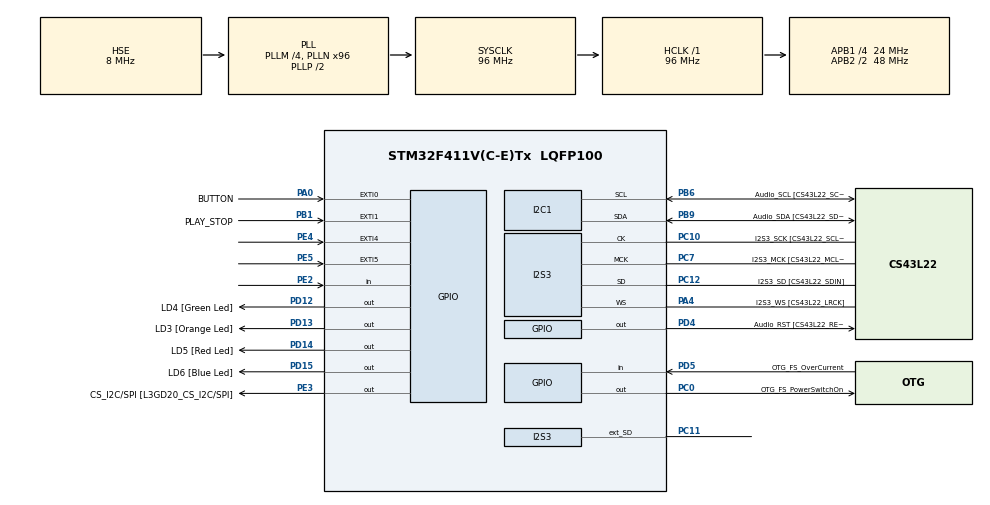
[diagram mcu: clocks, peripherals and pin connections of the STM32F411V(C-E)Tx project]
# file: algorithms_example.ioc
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Dma.Request0=SPI3_TX
Dma.SPI3_TX.0.Direction=DMA_MEMORY_TO_PERIPH
Dma.SPI3_TX.0.FIFOMode=DMA_FIFOMODE_ENABLE
Dma.SPI3_TX.0.FIFOThreshold=DMA_FIFO_THRESHOLD_FULL
Dma.SPI3_TX.0.Instance=DMA1_Stream5
Dma.SPI3_TX.0.MemBurst=DMA_MBURST_SINGLE
Dma.SPI3_TX.0.MemDataAlignment=DMA_MDATAALIGN_HALFWORD
Dma.SPI3_TX.0.MemInc=DMA_MINC_ENABLE
Dma.SPI3_TX.0.Mode=DMA_CIRCULAR
Dma.SPI3_TX.0.PeriphBurst=DMA_PBURST_SINGLE
Dma.SPI3_TX.0.PeriphDataAlignment=DMA_PDATAALIGN_HALFWORD
Dma.SPI3_TX.0.PeriphInc=DMA_PINC_DISABLE
Dma.SPI3_TX.0.Priority=DMA_PRIORITY_LOW
I2S3.AudioFreq=I2S_AUDIOFREQ_48K
I2S3.ErrorAudioFreq=-2.34 %
I2S3.FullDuplexMode=I2S_FULLDUPLEXMODE_ENABLE
I2S3.Instance=SPI$Index
I2S3.RealAudioFreq=46.875 KHz
I2S3.VirtualMode=I2S_MODE_MASTER
Mcu.Family=STM32F4
Mcu.Name=STM32F411V(C-E)Tx
Mcu.Package=LQFP100
NVIC.DMA1_Stream5_IRQn=true\:0\:0\:false\:false\:true\:false\:true
NVIC.EXTI0_IRQn=true\:1\:0\:true\:false\:true\:true\:true
NVIC.EXTI1_IRQn=true\:1\:0\:true\:false\:true\:true\:true
NVIC.FPU_IRQn=true\:0\:0\:false\:false\:true\:true\:false
NVIC.PriorityGroup=NVIC_PRIORITYGROUP_4
NVIC.TIM2_IRQn=true\:0\:0\:false\:false\:true\:true\:true
PA0-WKUP.GPIO_Label=BUTTON
PA0-WKUP.Signal=GPXTI0
PA10.GPIO_Label=OTG_FS_ID
PA10.Signal=USB_OTG_FS_ID
PA11.GPIO_Label=OTG_FS_DM
PA11.Signal=USB_OTG_FS_DM
PA12.GPIO_Label=OTG_FS_DP
PA12.Signal=USB_OTG_FS_DP
PA13.GPIO_Label=SWDIO
PA13.Signal=SYS_JTMS-SWDIO
PA14.GPIO_Label=SWCLK
PA14.Signal=SYS_JTCK-SWCLK
PA4.GPIO_Label=I2S3_WS [CS43L22_LRCK]
PA4.GPIO_Mode=GPIO_MODE_AF_PP
PA4.GPIO_PuPd=GPIO_NOPULL
PA4.GPIO_Speed=GPIO_SPEED_FREQ_LOW
PA4.Mode=Full_Duplex_Master
PA4.Signal=I2S3_WS
PA5.GPIO_Label=SPI1_SCK [L3GD20_SC/SPC]
PA5.Signal=SPI1_SCK
PA6.GPIO_Label=SPI1_MISO [L3GD20_AS0/SDO]
PA6.Signal=SPI1_MISO
PA7.GPIO_Label=SPI1_MOSI [L3GD20_SDA/SDI/SDO]
PA7.Signal=SPI1_MOSI
PA9.GPIO_Label=VBUS_FS
PA9.Signal=USB_OTG_FS_VBUS
PB1.GPIO_Label=PLAY_STOP
PB1.GPIO_ModeDefaultEXTI=GPIO_MODE_IT_RISING_FALLING
PB1.GPIO_PuPd=GPIO_PULLDOWN
PB1.Signal=GPXTI1
PB10.GPIO_Label=CLK_IN [MP45DT02_CLK]
PB10.Signal=I2S2_CK
PB12.Signal=I2S2_WS
PB3.GPIO_Label=SWO
PB3.Signal=SYS_JTDO-SWO
PB6.GPIO_Label=Audio_SCL [CS43L22_SCL]
PB6.GPIO_Mode=GPIO_MODE_AF_OD
PB6.GPIO_PuPd=GPIO_NOPULL
PB6.GPIO_Speed=GPIO_SPEED_FREQ_LOW
PB6.Mode=I2C
PB6.Signal=I2C1_SCL
PB9.GPIO_Label=Audio_SDA [CS43L22_SDA]
PB9.GPIO_Mode=GPIO_MODE_AF_OD
PB9.GPIO_PuPd=GPIO_NOPULL
PB9.GPIO_Speed=GPIO_SPEED_FREQ_LOW
PB9.Mode=I2C
PB9.Signal=I2C1_SDA
PC0.GPIO_Label=OTG_FS_PowerSwitchOn
PC0.PinState=GPIO_PIN_SET
PC0.Signal=GPIO_Output
PC10.GPIO_Label=I2S3_SCK [CS43L22_SCLK]
PC10.GPIO_Mode=GPIO_MODE_AF_PP
PC10.GPIO_PuPd=GPIO_NOPULL
PC10.GPIO_Speed=GPIO_SPEED_FREQ_LOW
PC10.Mode=Full_Duplex_Master
PC10.Signal=I2S3_CK
PC11.Mode=Full_Duplex_Master
PC11.Signal=I2S3_ext_SD
PC12.GPIO_Label=I2S3_SD [CS43L22_SDIN]
PC12.GPIO_Mode=GPIO_MODE_AF_PP
PC12.GPIO_PuPd=GPIO_NOPULL
PC12.GPIO_Speed=GPIO_SPEED_FREQ_LOW
PC12.Mode=Full_Duplex_Master
PC12.Signal=I2S3_SD
PC14-OSC32_IN.GPIO_Label=PC14-OSC32_IN
PC14-OSC32_IN.Signal=RCC_OSC32_IN
PC15-OSC32_OUT.GPIO_Label=PC15-OSC32_OUT
PC15-OSC32_OUT.Signal=RCC_OSC32_OUT
PC3.GPIO_Label=PDM_OUT [MP45DT02_DOUT]
PC3.Signal=I2S2_SD
PC7.GPIO_Label=I2S3_MCK [CS43L22_MCLK]
PC7.GPIO_Mode=GPIO_MODE_AF_PP
PC7.GPIO_PuPd=GPIO_NOPULL
PC7.GPIO_Speed=GPIO_SPEED_FREQ_LOW
PC7.Mode=Master_Clock_Activated
PC7.Signal=I2S3_MCK
PD12.GPIO_Label=LD4 [Green Led]
PD12.GPIO_PuPd=GPIO_NOPULL
PD12.GPIO_Speed=GPIO_SPEED_FREQ_LOW
PD12.Signal=GPIO_Output
PD13.GPIO_Label=LD3 [Orange Led]
PD13.GPIO_PuPd=GPIO_NOPULL
PD13.GPIO_Speed=GPIO_SPEED_FREQ_LOW
PD13.Signal=GPIO_Output
PD14.GPIO_Label=LD5 [Red Led]
PD14.GPIO_PuPd=GPIO_NOPULL
PD14.GPIO_Speed=GPIO_SPEED_FREQ_LOW
PD14.Signal=GPIO_Output
PD15.GPIO_Label=LD6 [Blue Led]
PD15.GPIO_PuPd=GPIO_NOPULL
PD15.GPIO_Speed=GPIO_SPEED_FREQ_LOW
PD15.Signal=GPIO_Output
PD4.GPIO_Label=Audio_RST [CS43L22_RESET]
PD4.GPIO_PuPd=GPIO_PULLDOWN
PD4.GPIO_Speed=GPIO_SPEED_FREQ_MEDIUM
PD4.Signal=GPIO_Output
PD5.GPIO_Label=OTG_FS_OverCurrent
PD5.Signal=GPIO_Input
PE2.Signal=GPIO_Input
PE3.GPIO_Label=CS_I2C/SPI [L3GD20_CS_I2C/SPI]
PE3.Signal=GPIO_Output
PE4.GPIO_ModeDefaultEXTI=GPIO_MODE_EVT_RISING
PE4.Signal=GPXTI4
PE5.GPIO_ModeDefaultEXTI=GPIO_MODE_EVT_RISING
PE5.Signal=GPXTI5
PH0\ -\ OSC_IN.GPIO_Label=PH0-OSC_IN
PH0\ -\ OSC_IN.Mode=HSE-External-Oscillator
PH0\ -\ OSC_IN.Signal=RCC_OSC_IN
PH1\ -\ OSC_OUT.GPIO_Label=PH1-OSC_OUT
PH1\ -\ OSC_OUT.Mode=HSE-External-Oscillator
PH1\ -\ OSC_OUT.Signal=RCC_OSC_OUT
ProjectManager.HeapSize=0x200
ProjectManager.StackSize=0x400
ProjectManager.TargetToolchain=STM32CubeIDE
RCC.48MHZClocksFreq_Value=24000000
RCC.AHBFreq_Value=96000000
RCC.APB1CLKDivider=RCC_HCLK_DIV4
RCC.APB1Freq_Value=24000000
RCC.APB1TimFreq_Value=48000000
RCC.APB2CLKDivider=RCC_HCLK_DIV2
RCC.APB2Freq_Value=48000000
RCC.APB2TimFreq_Value=96000000
RCC.CortexFreq_Value=96000000
RCC.HCLKFreq_Value=96000000
RCC.HSE_VALUE=8000000
RCC.HSI_VALUE=16000000
RCC.LSE_VALUE=32768
RCC.PLLI2SM=4
RCC.PLLI2SN=168
RCC.PLLM=4
RCC.PLLN=96
RCC.PLLQ=8
RCC.PLLSourceVirtual=RCC_PLLSOURCE_HSE
RCC.SYSCLKFreq_VALUE=96000000
RCC.SYSCLKSource=RCC_SYSCLKSOURCE_PLLCLK
RCC.VCOOutputFreq_Value=192000000
TIM2.Period=500-1
TIM2.Prescaler=2-1
TIM2.TIM_MasterOutputTrigger=TIM_TRGO_UPDATE
VP_TIM2_VS_ClockSourceINT.Mode=Internal
board=STM32F411E-DISCO

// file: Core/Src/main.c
/* USER CODE BEGIN Header */
/**
  ******************************************************************************
  * @file           : main.c
  * @brief          : Main program body
  ******************************************************************************
  * @attention
  *
  * Copyright (c) 2022 STMicroelectronics.
  * All rights reserved.
  *
  * This software is licensed under terms that can be found in the LICENSE file
  * in the root directory of this software component.
  * If no LICENSE file comes with this software, it is provided AS-IS.
  *
  ******************************************************************************
  */
/* USER CODE END Header */
#include "main.h"

/* USER CODE BEGIN PTD */
#include <stdlib.h>

#include <cs43l22.h>

#include <filter.h>
#include <compressor.h>
#include <pitchShifter.h>
#include <reverb.h>
#include <waveshaper.h>

/* USER CODE END PTD */

I2C_HandleTypeDef hi2c1;

I2S_HandleTypeDef hi2s3;
DMA_HandleTypeDef hdma_spi3_tx;

TIM_HandleTypeDef htim2;

void SystemClock_Config(void);
static void MX_GPIO_Init(void);
static void MX_I2C1_Init(void);
static void MX_DMA_Init(void);
static void MX_I2S3_Init(void);
static void MX_TIM2_Init(void);

/* USER CODE BEGIN 0 */
extern const size_t audioSampleLength;
extern const uint8_t audioSample[];

typedef enum {
	STOPPED = 0,
	PLAYING
} playerState_t;

playerState_t playerState = STOPPED;

typedef enum {
	NO_PROCESSING = 0,
	FILTERING,
	COMPRESSION,
	PITCH_SHIFTING,
	REVERB,
	WAVE_SHAPER,
	MAX_ALGORITHM
} algorithm_t;

algorithm_t algorithmState = NO_PROCESSING;

filter_t lowPassFilter;
filter_t highPassFilter;
compressor_t compressor;
pitchShifter_t pitchShifter;
reverberator_t reverberator;
waveShaper_t waveShaper;

void process(int16_t* input, algorithm_t algorithm, int16_t* output);

void initAlgorithms() {
	/*
	* Fc = 5kHz, Fs = 48kHz, Q = 0.7
	*/
	filter_params_t lowPassParams = {
	.a0 = 0.07201087182738185f,
	.a1 = 0.1440217436547637f,
	.a2 = 0.07201087182738185f,
	.b1 = -1.1058502621247885f,
	.b2 = 0.39389374943431593f
	};
	initFilter(&lowPassFilter, &lowPassParams);

	/*
	* Fc = 1kHz, Fs = 48kHz, Q = 0.7
	*/
	filter_params_t highPassParams = {
	.a0 = 0.9108053230631961f,
	.a1 = -1.8216106461263921f,
	.a2 = 0.9108053230631961f,
	.b1 = -1.8137851060359658f,
	.b2 = 0.8294361862168182f
	};
	initFilter(&highPassFilter, &highPassParams);

	/*
	* 1 sample = 1/48kHz = ~20us
	* Attack = 3ms -> 150 samples
	* Release = 200ms -> 10000 samples
	* Hold = 100ms -> 5000 samples
	* Threshold = -6dB -> 0.5
	* Ration = 12:1 -> -12dB = 0.25
	*/
	compressorParams_t compressorParams = {
	.attack = 1500,
	.release = 10000,
	.hold = 5000,
	.threshold = 0.5f,
	.ratio = 0.25f
	};
	initCompressor(&compressor, &compressorParams);

	float shift = 0.5f;
	initPitchShifter(&pitchShifter, shift);

	float time = 1.0f;
	float wet = 0.3f;
	initReverb(&reverberator, time, wet);

	waveShaperParams_t waveShaperParams = {
	  .noiseThreshold = 0.01f,
	  .lowThreshold = 0.1f,
	  .lowGain = 2.0f,
	  .highThreshold = 0.8f,
	  .highThreshold = 0.5f,
	  .outGain = 1.1f
	};
	initWaveShaper(&waveShaper, &waveShaperParams);
}

void initDAC() {
	CS43_Init(hi2c1, CS43_MODE_I2S);

	if (CS43_GetId() != 0xe3)
	  Error_Handler();

	HAL_GPIO_WritePin(GPIOD, LD3_Pin, GPIO_PIN_SET);

	CS43_Enable_RightLeft(CS43_RIGHT_LEFT);
	CS43_SetVolume(50);
}

/* USER CODE END 0 */

int main(void)
{

  /* MCU Configuration--------------------------------------------------------*/

  /* Reset of all peripherals, Initializes the Flash interface and the Systick. */
  HAL_Init();

  /* Configure the system clock */
  SystemClock_Config();

  /* Initialize all configured peripherals */
  MX_GPIO_Init();
  MX_I2C1_Init();
  MX_DMA_Init();
  MX_I2S3_Init();
  MX_TIM2_Init();
  /* USER CODE BEGIN 2 */

  initAlgorithms();
  initDAC();

  /* USER CODE END 2 */

  /* Infinite loop */
  while (1)
  {

  }
}

void SystemClock_Config(void)
{
  RCC_OscInitTypeDef RCC_OscInitStruct = {0};
  RCC_ClkInitTypeDef RCC_ClkInitStruct = {0};

  /** Configure the main internal regulator output voltage
  */
  __HAL_RCC_PWR_CLK_ENABLE();
  __HAL_PWR_VOLTAGESCALING_CONFIG(PWR_REGULATOR_VOLTAGE_SCALE1);
  /** Initializes the RCC Oscillators according to the specified parameters
  * in the RCC_OscInitTypeDef structure.
  */
  RCC_OscInitStruct.OscillatorType = RCC_OSCILLATORTYPE_HSE;
  RCC_OscInitStruct.HSEState = RCC_HSE_ON;
  RCC_OscInitStruct.PLL.PLLState = RCC_PLL_ON;
  RCC_OscInitStruct.PLL.PLLSource = RCC_PLLSOURCE_HSE;
  RCC_OscInitStruct.PLL.PLLM = 4;
  RCC_OscInitStruct.PLL.PLLN = 96;
  RCC_OscInitStruct.PLL.PLLP = RCC_PLLP_DIV2;
  RCC_OscInitStruct.PLL.PLLQ = 8;
  if (HAL_RCC_OscConfig(&RCC_OscInitStruct) != HAL_OK)
  {
    Error_Handler();
  }
  /** Initializes the CPU, AHB and APB buses clocks
  */
  RCC_ClkInitStruct.ClockType = RCC_CLOCKTYPE_HCLK|RCC_CLOCKTYPE_SYSCLK
                              |RCC_CLOCKTYPE_PCLK1|RCC_CLOCKTYPE_PCLK2;
  RCC_ClkInitStruct.SYSCLKSource = RCC_SYSCLKSOURCE_PLLCLK;
  RCC_ClkInitStruct.AHBCLKDivider = RCC_SYSCLK_DIV1;
  RCC_ClkInitStruct.APB1CLKDivider = RCC_HCLK_DIV4;
  RCC_ClkInitStruct.APB2CLKDivider = RCC_HCLK_DIV2;

  if (HAL_RCC_ClockConfig(&RCC_ClkInitStruct, FLASH_LATENCY_3) != HAL_OK)
  {
    Error_Handler();
  }
}

static void MX_I2C1_Init(void)
{

  hi2c1.Instance = I2C1;
  hi2c1.Init.ClockSpeed = 100000;
  hi2c1.Init.DutyCycle = I2C_DUTYCYCLE_2;
  hi2c1.Init.OwnAddress1 = 0;
  hi2c1.Init.AddressingMode = I2C_ADDRESSINGMODE_7BIT;
  hi2c1.Init.DualAddressMode = I2C_DUALADDRESS_DISABLE;
  hi2c1.Init.OwnAddress2 = 0;
  hi2c1.Init.GeneralCallMode = I2C_GENERALCALL_DISABLE;
  hi2c1.Init.NoStretchMode = I2C_NOSTRETCH_DISABLE;
  if (HAL_I2C_Init(&hi2c1) != HAL_OK)
  {
    Error_Handler();
  }

}

static void MX_I2S3_Init(void)
{

  hi2s3.Instance = SPI3;
  hi2s3.Init.Mode = I2S_MODE_MASTER_TX;
  hi2s3.Init.Standard = I2S_STANDARD_PHILIPS;
  hi2s3.Init.DataFormat = I2S_DATAFORMAT_16B;
  hi2s3.Init.MCLKOutput = I2S_MCLKOUTPUT_ENABLE;
  hi2s3.Init.AudioFreq = I2S_AUDIOFREQ_48K;
  hi2s3.Init.CPOL = I2S_CPOL_LOW;
  hi2s3.Init.ClockSource = I2S_CLOCK_PLL;
  hi2s3.Init.FullDuplexMode = I2S_FULLDUPLEXMODE_ENABLE;
  if (HAL_I2S_Init(&hi2s3) != HAL_OK)
  {
    Error_Handler();
  }

}

static void MX_TIM2_Init(void)
{

  TIM_ClockConfigTypeDef sClockSourceConfig = {0};
  TIM_MasterConfigTypeDef sMasterConfig = {0};

  htim2.Instance = TIM2;
  htim2.Init.Prescaler = 2-1;
  htim2.Init.CounterMode = TIM_COUNTERMODE_UP;
  htim2.Init.Period = 500-1;
  htim2.Init.ClockDivision = TIM_CLOCKDIVISION_DIV1;
  htim2.Init.AutoReloadPreload = TIM_AUTORELOAD_PRELOAD_DISABLE;
  if (HAL_TIM_Base_Init(&htim2) != HAL_OK)
  {
    Error_Handler();
  }
  sClockSourceConfig.ClockSource = TIM_CLOCKSOURCE_INTERNAL;
  if (HAL_TIM_ConfigClockSource(&htim2, &sClockSourceConfig) != HAL_OK)
  {
    Error_Handler();
  }
  sMasterConfig.MasterOutputTrigger = TIM_TRGO_UPDATE;
  sMasterConfig.MasterSlaveMode = TIM_MASTERSLAVEMODE_DISABLE;
  if (HAL_TIMEx_MasterConfigSynchronization(&htim2, &sMasterConfig) != HAL_OK)
  {
    Error_Handler();
  }

}

static void MX_DMA_Init(void)
{

  /* DMA controller clock enable */
  __HAL_RCC_DMA1_CLK_ENABLE();

  /* DMA interrupt init */
  /* DMA1_Stream5_IRQn interrupt configuration */
  HAL_NVIC_SetPriority(DMA1_Stream5_IRQn, 0, 0);
  HAL_NVIC_EnableIRQ(DMA1_Stream5_IRQn);

}

static void MX_GPIO_Init(void)
{
  GPIO_InitTypeDef GPIO_InitStruct = {0};

  /* GPIO Ports Clock Enable */
  __HAL_RCC_GPIOE_CLK_ENABLE();
  __HAL_RCC_GPIOC_CLK_ENABLE();
  __HAL_RCC_GPIOH_CLK_ENABLE();
  __HAL_RCC_GPIOA_CLK_ENABLE();
  __HAL_RCC_GPIOB_CLK_ENABLE();
  __HAL_RCC_GPIOD_CLK_ENABLE();

  /*Configure GPIO pin Output Level */
  HAL_GPIO_WritePin(CS_I2C_SPI_GPIO_Port, CS_I2C_SPI_Pin, GPIO_PIN_RESET);

  /*Configure GPIO pin Output Level */
  HAL_GPIO_WritePin(OTG_FS_PowerSwitchOn_GPIO_Port, OTG_FS_PowerSwitchOn_Pin, GPIO_PIN_SET);

  /*Configure GPIO pin Output Level */
  HAL_GPIO_WritePin(GPIOD, LD4_Pin|LD3_Pin|LD5_Pin|LD6_Pin
                          |Audio_RST_Pin, GPIO_PIN_RESET);

  /*Configure GPIO pin : PE2 */
  GPIO_InitStruct.Pin = GPIO_PIN_2;
  GPIO_InitStruct.Mode = GPIO_MODE_INPUT;
  GPIO_InitStruct.Pull = GPIO_NOPULL;
  HAL_GPIO_Init(GPIOE, &GPIO_InitStruct);

  /*Configure GPIO pin : CS_I2C_SPI_Pin */
  GPIO_InitStruct.Pin = CS_I2C_SPI_Pin;
  GPIO_InitStruct.Mode = GPIO_MODE_OUTPUT_PP;
  GPIO_InitStruct.Pull = GPIO_NOPULL;
  GPIO_InitStruct.Speed = GPIO_SPEED_FREQ_LOW;
  HAL_GPIO_Init(CS_I2C_SPI_GPIO_Port, &GPIO_InitStruct);

  /*Configure GPIO pins : PE4 PE5 */
  GPIO_InitStruct.Pin = GPIO_PIN_4|GPIO_PIN_5;
  GPIO_InitStruct.Mode = GPIO_MODE_EVT_RISING;
  GPIO_InitStruct.Pull = GPIO_NOPULL;
  HAL_GPIO_Init(GPIOE, &GPIO_InitStruct);

  /*Configure GPIO pin : OTG_FS_PowerSwitchOn_Pin */
  GPIO_InitStruct.Pin = OTG_FS_PowerSwitchOn_Pin;
  GPIO_InitStruct.Mode = GPIO_MODE_OUTPUT_PP;
  GPIO_InitStruct.Pull = GPIO_NOPULL;
  GPIO_InitStruct.Speed = GPIO_SPEED_FREQ_LOW;
  HAL_GPIO_Init(OTG_FS_PowerSwitchOn_GPIO_Port, &GPIO_InitStruct);

  /*Configure GPIO pin : PDM_OUT_Pin */
  GPIO_InitStruct.Pin = PDM_OUT_Pin;
  GPIO_InitStruct.Mode = GPIO_MODE_AF_PP;
  GPIO_InitStruct.Pull = GPIO_NOPULL;
  GPIO_InitStruct.Speed = GPIO_SPEED_FREQ_LOW;
  GPIO_InitStruct.Alternate = GPIO_AF5_SPI2;
  HAL_GPIO_Init(PDM_OUT_GPIO_Port, &GPIO_InitStruct);

  /*Configure GPIO pin : BUTTON_Pin */
  GPIO_InitStruct.Pin = BUTTON_Pin;
  GPIO_InitStruct.Mode = GPIO_MODE_IT_RISING;
  GPIO_InitStruct.Pull = GPIO_NOPULL;
  HAL_GPIO_Init(BUTTON_GPIO_Port, &GPIO_InitStruct);

  /*Configure GPIO pins : SPI1_SCK_Pin SPI1_MISO_Pin SPI1_MOSI_Pin */
  GPIO_InitStruct.Pin = SPI1_SCK_Pin|SPI1_MISO_Pin|SPI1_MOSI_Pin;
  GPIO_InitStruct.Mode = GPIO_MODE_AF_PP;
  GPIO_InitStruct.Pull = GPIO_NOPULL;
  GPIO_InitStruct.Speed = GPIO_SPEED_FREQ_VERY_HIGH;
  GPIO_InitStruct.Alternate = GPIO_AF5_SPI1;
  HAL_GPIO_Init(GPIOA, &GPIO_InitStruct);

  /*Configure GPIO pin : PLAY_STOP_Pin */
  GPIO_InitStruct.Pin = PLAY_STOP_Pin;
  GPIO_InitStruct.Mode = GPIO_MODE_IT_RISING_FALLING;
  GPIO_InitStruct.Pull = GPIO_PULLDOWN;
  HAL_GPIO_Init(PLAY_STOP_GPIO_Port, &GPIO_InitStruct);

  /*Configure GPIO pins : CLK_IN_Pin PB12 */
  GPIO_InitStruct.Pin = CLK_IN_Pin|GPIO_PIN_12;
  GPIO_InitStruct.Mode = GPIO_MODE_AF_PP;
  GPIO_InitStruct.Pull = GPIO_NOPULL;
  GPIO_InitStruct.Speed = GPIO_SPEED_FREQ_LOW;
  GPIO_InitStruct.Alternate = GPIO_AF5_SPI2;
  HAL_GPIO_Init(GPIOB, &GPIO_InitStruct);

  /*Configure GPIO pins : LD4_Pin LD3_Pin LD5_Pin LD6_Pin */
  GPIO_InitStruct.Pin = LD4_Pin|LD3_Pin|LD5_Pin|LD6_Pin;
  GPIO_InitStruct.Mode = GPIO_MODE_OUTPUT_PP;
  GPIO_InitStruct.Pull = GPIO_NOPULL;
  GPIO_InitStruct.Speed = GPIO_SPEED_FREQ_LOW;
  HAL_GPIO_Init(GPIOD, &GPIO_InitStruct);

  /*Configure GPIO pin : VBUS_FS_Pin */
  GPIO_InitStruct.Pin = VBUS_FS_Pin;
  GPIO_InitStruct.Mode = GPIO_MODE_INPUT;
  GPIO_InitStruct.Pull = GPIO_NOPULL;
  HAL_GPIO_Init(VBUS_FS_GPIO_Port, &GPIO_InitStruct);

  /*Configure GPIO pins : OTG_FS_ID_Pin OTG_FS_DM_Pin OTG_FS_DP_Pin */
  GPIO_InitStruct.Pin = OTG_FS_ID_Pin|OTG_FS_DM_Pin|OTG_FS_DP_Pin;
  GPIO_InitStruct.Mode = GPIO_MODE_AF_PP;
  GPIO_InitStruct.Pull = GPIO_NOPULL;
  GPIO_InitStruct.Speed = GPIO_SPEED_FREQ_VERY_HIGH;
  GPIO_InitStruct.Alternate = GPIO_AF10_OTG_FS;
  HAL_GPIO_Init(GPIOA, &GPIO_InitStruct);

  /*Configure GPIO pin : Audio_RST_Pin */
  GPIO_InitStruct.Pin = Audio_RST_Pin;
  GPIO_InitStruct.Mode = GPIO_MODE_OUTPUT_PP;
  GPIO_InitStruct.Pull = GPIO_PULLDOWN;
  GPIO_InitStruct.Speed = GPIO_SPEED_FREQ_MEDIUM;
  HAL_GPIO_Init(Audio_RST_GPIO_Port, &GPIO_InitStruct);

  /*Configure GPIO pin : OTG_FS_OverCurrent_Pin */
  GPIO_InitStruct.Pin = OTG_FS_OverCurrent_Pin;
  GPIO_InitStruct.Mode = GPIO_MODE_INPUT;
  GPIO_InitStruct.Pull = GPIO_NOPULL;
  HAL_GPIO_Init(OTG_FS_OverCurrent_GPIO_Port, &GPIO_InitStruct);

  /* EXTI interrupt init*/
  HAL_NVIC_SetPriority(EXTI0_IRQn, 1, 0);
  HAL_NVIC_EnableIRQ(EXTI0_IRQn);

  HAL_NVIC_SetPriority(EXTI1_IRQn, 1, 0);
  HAL_NVIC_EnableIRQ(EXTI1_IRQn);

}

/* USER CODE BEGIN 4 */

void PlayStop_Interrupt(void)
{
	GPIO_PinState s = HAL_GPIO_ReadPin(PLAY_STOP_GPIO_Port, PLAY_STOP_Pin);
	if (s == GPIO_PIN_SET) {
		CS43_Start();
		HAL_TIM_Base_Start_IT(&htim2);
		playerState = PLAYING;
	}
	else {
		HAL_TIM_Base_Stop_IT(&htim2);
		CS43_Stop();
		HAL_GPIO_WritePin(GPIOD, LD6_Pin, GPIO_PIN_RESET);
		playerState = STOPPED;
	}
}

void Button_Interrupt(void)
{
	algorithmState++;
	if (algorithmState==MAX_ALGORITHM) algorithmState = NO_PROCESSING;
}

/*
 * Button: change algorithm
 * PB1: Up -> play, Down -> stop
 */
void HAL_GPIO_EXTI_Callback(uint16_t GPIO_Pin)
{
	HAL_Delay(500);
	if (GPIO_Pin == BUTTON_Pin) {
		Button_Interrupt();
	}
	else if (GPIO_Pin == PLAY_STOP_Pin) {
		PlayStop_Interrupt();
	}
}

void HAL_TIM_PeriodElapsedCallback(TIM_HandleTypeDef *htim)
{
	if (htim->Instance != TIM2)
		return;

	static size_t count = 0;
	static size_t index = 0;

	static int16_t inputData[2];
	static int16_t outputData[2];

	inputData[0] = (int16_t)(audioSample[index] << 8 | 0x00);
	inputData[1] = (int16_t)(audioSample[index+1] << 8 | 0x00);

	process(inputData, algorithmState, outputData);

	HAL_I2S_Transmit_DMA(&hi2s3, (uint16_t*)outputData, 2);

	if (++count == 48000)
	{
	  count = 0;
	  HAL_GPIO_TogglePin(GPIOD, LD6_Pin);
	}
	index+=2;
	if (index >= audioSampleLength)
	{
		index = 0;
	}
}

static inline float pcm16BitToFloaT(int16_t p)
{
	float f = (float)p / (float)32768;
	if (f > 1) f = 1;
	if (f < -1) f = -1;
	return f;
}

static inline int16_t floatToPcm16Bit(float f)
{
	int16_t p = f * 32768;
	if (p > 32768) p = 32768;
	if (p < -32768) p = -32768;
	return p;
}

void process(int16_t* input, algorithm_t algorithm, int16_t* output)
{
	float inputL_float = pcm16BitToFloaT(input[0]);
	float inputR_float = pcm16BitToFloaT(input[1]);
	float outputL_float;
	float outputR_float;
	switch(algorithm)
	{
		case NO_PROCESSING:
			outputL_float = inputL_float;
			outputR_float = inputR_float;
			break;
		case FILTERING:
			outputL_float = filterAlgorithm(&lowPassFilter, inputL_float);
			outputR_float = filterAlgorithm(&highPassFilter, inputR_float);
			break;
		case COMPRESSION:
			outputL_float = compressorAlgorithm(&compressor, inputL_float);
			outputR_float = compressorAlgorithm(&compressor, inputR_float);
			break;
		case PITCH_SHIFTING:
			outputL_float = pitchShifterAlgorithm(&pitchShifter, inputL_float, inputR_float);
			outputR_float = outputL_float;
			break;
		case REVERB:
			outputL_float = reverbAlgorithm(&reverberator, inputL_float, inputR_float);
			outputR_float = outputL_float;
			break;
		case WAVE_SHAPER:
			outputL_float = waveShaperAlgorithm(&waveShaper, inputL_float);
			outputR_float = waveShaperAlgorithm(&waveShaper, inputR_float);
			break;
		case MAX_ALGORITHM:
			algorithmState = NO_PROCESSING;
			outputL_float = inputL_float;
			outputR_float = inputR_float;
			break;
	}
	output[0] = floatToPcm16Bit(outputL_float);
	output[1] = floatToPcm16Bit(outputR_float);
}

/* USER CODE END 4 */

void Error_Handler(void)
{
  /* USER CODE BEGIN Error_Handler_Debug */
  /* User can add his own implementation to report the HAL error return state */
  __disable_irq();
  HAL_GPIO_WritePin(GPIOD, LD5_Pin, GPIO_PIN_SET);
  while (1)
  {
  }
  /* USER CODE END Error_Handler_Debug */
}
